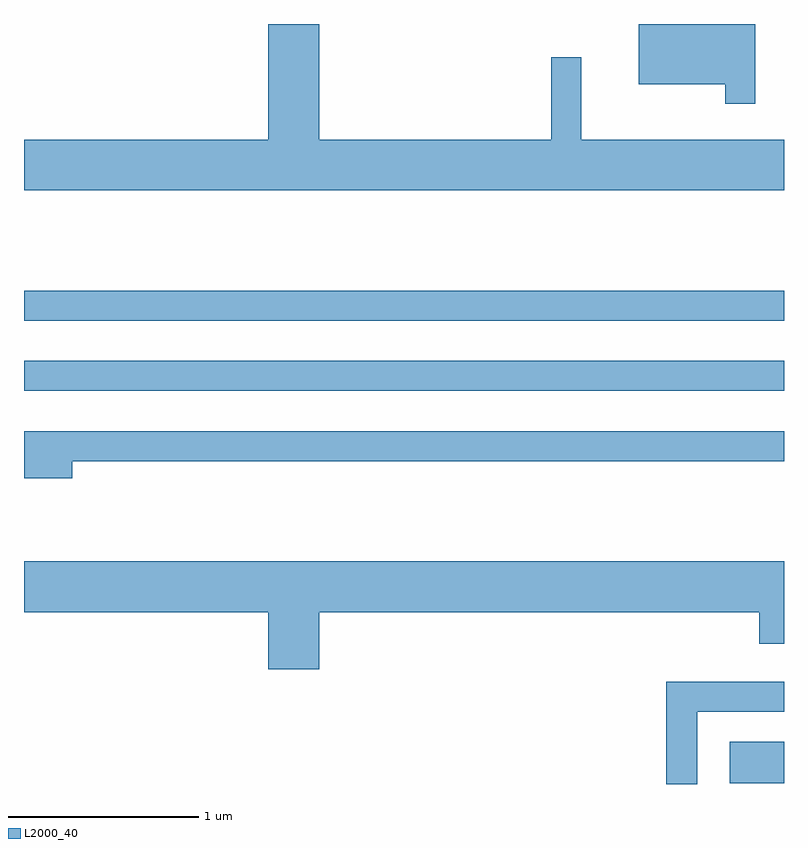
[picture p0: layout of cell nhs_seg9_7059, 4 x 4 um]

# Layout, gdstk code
import gdstk
lib = gdstk.Library(unit=1e-6, precision=1e-09)
def R(c, l, rs):  # rectangles x0, y0, x1, y1
    for r in rs: c.add(gdstk.rectangle(r[:2], r[2:], *l))
def P(c, l, *ps):  # polygons
    for p in ps: c.add(gdstk.Polygon(p, *l))
L2000_40 = (2000, 40)

nhs_seg9_7059 = lib.new_cell('nhs_seg9_7059')
R(nhs_seg9_7059, L2000_40, [(397.326,2026.436,397.611,2026.654), (393.611,2028.501,397.611,2028.659), (393.611,2028.871,397.611,2029.029)])
P(nhs_seg9_7059, L2000_40, [(397.611,2029.824),(396.544,2029.824),(396.544,2030.258),(396.386,2030.258),(396.386,2029.824),(395.164,2029.824),(395.164,2030.432),(394.896,2030.432),(394.896,2029.824),(393.611,2029.824),(393.611,2029.556),(397.611,2029.556)],
  [(397.459,2030.432),(396.846,2030.432),(396.846,2030.116),(397.301,2030.116),(397.301,2030.013),(397.459,2030.013)],
  [(393.864,2028.131),(397.611,2028.131),(397.611,2028.289),(393.611,2028.289),(393.611,2028.041),(393.864,2028.041)],
  [(395.164,2027.336),(397.481,2027.336),(397.481,2027.171),(397.611,2027.171),(397.611,2027.604),(393.611,2027.604),(393.611,2027.336),(394.896,2027.336),(394.896,2027.036),(395.164,2027.036)],
  [(397.154,2026.811),(397.611,2026.811),(397.611,2026.969),(396.991,2026.969),(396.991,2026.432),(397.154,2026.432)])

lib.write_gds('nhs_seg9_7059.gds')
